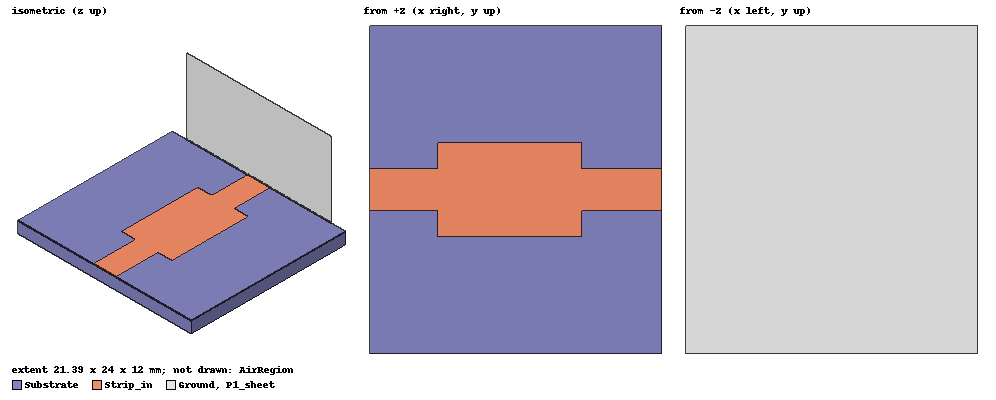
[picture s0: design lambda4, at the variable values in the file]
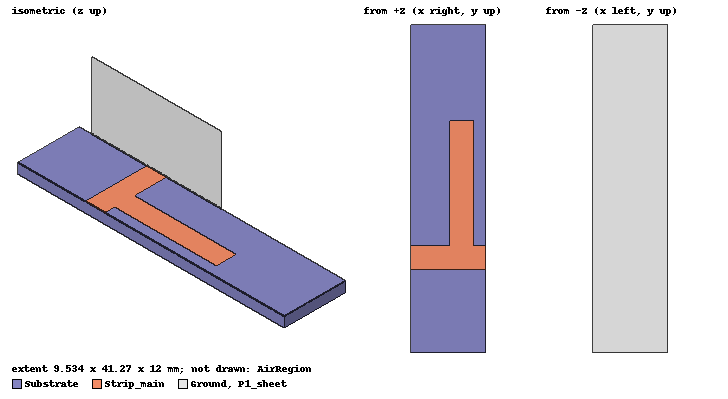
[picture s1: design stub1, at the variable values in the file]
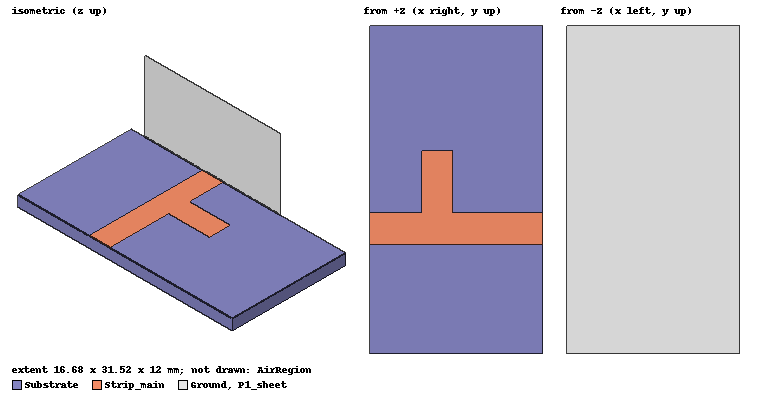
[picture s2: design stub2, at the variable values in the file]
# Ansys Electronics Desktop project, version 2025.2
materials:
  vacuum: permittivity=1
  FR4_match: permittivity=4.4 permeability=1 dielectric_loss_tangent=0.02
  copper: permeability=0.999991 conductivity=58000000
  air: permittivity=1.0006 permeability=1.0000004

design lambda4 (HFSS, HFSS Modal Network, model units mm)
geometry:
  Substrate [FR4_match] = box(corner=(0mm, -12mm, 0mm), size=(21.385mm, 24mm, 1.6mm))
  Strip_in [copper] = box(corner=(0mm, -1.5415mm, 1.6mm), size=(5mm, 3.083mm, 0.035mm))
  Strip_Lt = box(corner=(5mm, -3.4735mm, 1.6mm), size=(10.52mm, 6.947mm, 0.035mm))
  Strip_L50 = box(corner=(15.52mm, -1.5415mm, 1.6mm), size=(5.865mm, 3.083mm, 0.035mm))
  Strip_in.unite(Strip_Lt, Strip_L50)
  Ground = rectangle(corner=(0mm, -12mm, 0mm), x_size=21.385mm, y_size=24mm)
  Load_sheet = rectangle(corner=(21.285mm, -1.5415mm, 0mm), y_size=3.083mm, z_size=1.6mm)
  AirRegion [air] = region(absolute_offset: +X=0mm, -X=0mm, +Y=0mm, -Y=0mm, +Z=12mm, -Z=0mm)
  P1_sheet = rectangle(corner=(0mm, -10mm, 0mm), y_size=20mm, z_size=12mm)
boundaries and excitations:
  PEC_ground: Perfect E Objects=Ground
  Load: Lumped RLC Objects=Load_sheet CurrentLine{(21.285, 0, 0) -> (21.285, 0, 1.6)} RLC_Type=Serial Resistance=30ohm Capacitance=1.137pF
  Rad__0SYY9O: Radiation Faces=AirRegion.face(+z, -y, -x, +y, +x)
  P1: Wave Port Objects=P1_sheet WavePortType=Modal NumModes=1 Modes{Mode1{IntLine{(0, 0, 0) -> (0, 0, 12)} CharImp=Zpi RenormImp=50ohm}}
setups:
  Setup1: HfssDriven Frequency=3.5GHz MaxDeltaS=0.02 MaximumPasses=10 MinimumPasses=1 MinimumConvergedPasses=1 PercentRefinement=30 BasisOrder=1 PortAccuracy=2 DrivenSolverType="Direct Solver"
    sweep Sweep1: 2GHz to 5GHz, 301 points; Type=Interpolating SaveFields InterpTolerance=0.5 InterpMaxSolns=250 InterpUsePortImped=false PassivityErrorTolerance=0.0001
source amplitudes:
  P1:1: 1W 0deg
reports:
  S11_dB_lambda4: dB(S(1,1)) vs Freq on Setup1 : Sweep1
  S11_Smith_lambda4: S(1,1) on Setup1 : Sweep1 [Freq=all]

design stub1 (HFSS, HFSS Modal Network, model units mm)
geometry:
  Substrate [FR4_match] = box(corner=(0mm, -12mm, 0mm), size=(9.53411mm, 41.267055mm, 1.6mm))
  Strip_main [copper] = box(corner=(0mm, -1.517055mm, 1.6mm), size=(9.53411mm, 3.03411mm, 0.035mm))
  Strip_stub = box(corner=(5mm, 1.517055mm, 1.6mm), size=(3.03411mm, 15.75mm, 0.035mm))
  Strip_main.unite(Strip_stub)
  Ground = rectangle(corner=(0mm, -12mm, 0mm), x_size=9.53411mm, y_size=41.267055mm)
  Load_sheet = rectangle(corner=(9.43411mm, -1.517055mm, 0mm), y_size=3.03411mm, z_size=1.6mm)
  AirRegion [air] = region(absolute_offset: +X=0mm, -X=0mm, +Y=0mm, -Y=0mm, +Z=12mm, -Z=0mm)
  P1_sheet = rectangle(corner=(0mm, -10mm, 0mm), y_size=20mm, z_size=12mm)
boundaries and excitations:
  PEC_ground: Perfect E Objects=Ground
  Load: Lumped RLC Objects=Load_sheet CurrentLine{(9.43411, 0, 0) -> (9.43411, 0, 1.6)} RLC_Type=Serial Resistance=30ohm Capacitance=1.137pF
  Rad__GX1I9X: Radiation Faces=AirRegion.face(+z, -y, -x, +y, +x)
  P1: Wave Port Objects=P1_sheet WavePortType=Modal NumModes=1 DeembedDist=5mm Modes{Mode1{IntLine{(0, 0, 0) -> (0, 0, 12)} CharImp=Zpi RenormImp=50ohm}}
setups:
  Setup1: HfssDriven Frequency=3.5GHz MaxDeltaS=0.02 MaximumPasses=10 MinimumPasses=1 MinimumConvergedPasses=1 PercentRefinement=30 BasisOrder=1 PortAccuracy=2 DrivenSolverType="Direct Solver"
    sweep Sweep1: 2GHz to 5GHz, 301 points; Type=Interpolating SaveFields InterpTolerance=0.5 InterpMaxSolns=250 InterpUsePortImped=false PassivityErrorTolerance=0.0001
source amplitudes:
  P1:1: 1W 0deg
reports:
  S11_dB_stub1: dB(S(1,1)) vs Freq on Setup1 : Sweep1
  S11_Smith_stub1: S(1,1) on Setup1 : Sweep1 [Freq=all]

design stub2 (HFSS, HFSS Modal Network, model units mm)
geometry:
  Substrate [FR4_match] = box(corner=(0mm, -12mm, 0mm), size=(16.68411mm, 31.517055mm, 1.6mm))
  Strip_main [copper] = box(corner=(0mm, -1.517055mm, 1.6mm), size=(16.68411mm, 3.03411mm, 0.035mm))
  Strip_stub = box(corner=(5mm, 1.517055mm, 1.6mm), size=(3.03411mm, 6mm, 0.035mm))
  Strip_main.unite(Strip_stub)
  Ground = rectangle(corner=(0mm, -12mm, 0mm), x_size=16.68411mm, y_size=31.517055mm)
  Load_sheet = rectangle(corner=(16.58411mm, -1.517055mm, 0mm), y_size=3.03411mm, z_size=1.6mm)
  AirRegion [air] = region(absolute_offset: +X=0mm, -X=0mm, +Y=0mm, -Y=0mm, +Z=12mm, -Z=0mm)
  P1_sheet = rectangle(corner=(0mm, -10mm, 0mm), y_size=20mm, z_size=12mm)
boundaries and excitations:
  PEC_ground: Perfect E Objects=Ground
  Load: Lumped RLC Objects=Load_sheet CurrentLine{(16.58411, 0, 0) -> (16.58411, 0, 1.6)} RLC_Type=Serial Resistance=30ohm Capacitance=1.137pF
  Rad__PP2NGU: Radiation Faces=AirRegion.face(+z, -y, -x, +y, +x)
  P1: Wave Port Objects=P1_sheet WavePortType=Modal NumModes=1 DeembedDist=5mm Modes{Mode1{IntLine{(0, 0, 0) -> (0, 0, 12)} CharImp=Zpi RenormImp=50ohm}}
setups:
  Setup1: HfssDriven Frequency=3.5GHz MaxDeltaS=0.02 MaximumPasses=10 MinimumPasses=1 MinimumConvergedPasses=1 PercentRefinement=30 BasisOrder=1 PortAccuracy=2 DrivenSolverType="Direct Solver"
    sweep Sweep1: 2GHz to 5GHz, 301 points; Type=Interpolating SaveFields InterpTolerance=0.5 InterpMaxSolns=250 InterpUsePortImped=false PassivityErrorTolerance=0.0001
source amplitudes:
  P1:1: 1W 0deg
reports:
  S11_dB_stub2: dB(S(1,1)) vs Freq on Setup1 : Sweep1
  S11_Smith_stub2: S(1,1) on Setup1 : Sweep1 [Freq=all]
